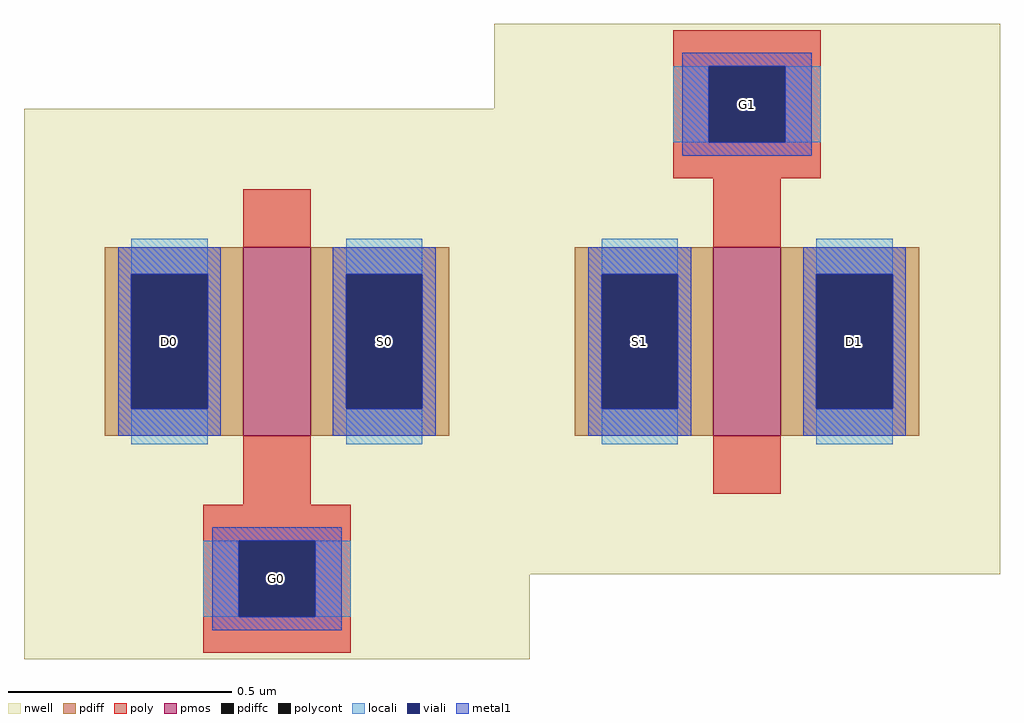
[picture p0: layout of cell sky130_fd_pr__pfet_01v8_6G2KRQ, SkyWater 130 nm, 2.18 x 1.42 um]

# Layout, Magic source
magic
tech sky130A
magscale 1 2
<< nwell >>
rect -8 104 218 142
rect -218 -104 218 104
rect -218 -142 8 -104
<< pmos >>
rect -120 -42 -90 42
rect 90 -42 120 42
<< pdiff >>
rect -182 30 -120 42
rect -182 -30 -170 30
rect -136 -30 -120 30
rect -182 -42 -120 -30
rect -90 30 -28 42
rect -90 -30 -74 30
rect -40 -30 -28 30
rect -90 -42 -28 -30
rect 28 30 90 42
rect 28 -30 40 30
rect 74 -30 90 30
rect 28 -42 90 -30
rect 120 30 182 42
rect 120 -30 136 30
rect 170 -30 182 30
rect 120 -42 182 -30
<< pdiffc >>
rect -170 -30 -136 30
rect -74 -30 -40 30
rect 40 -30 74 30
rect 136 -30 170 30
<< poly >>
rect 72 123 138 139
rect 72 89 88 123
rect 122 89 138 123
rect 72 73 138 89
rect -120 42 -90 68
rect 90 42 120 73
rect -120 -73 -90 -42
rect 90 -68 120 -42
rect -138 -89 -72 -73
rect -138 -123 -122 -89
rect -88 -123 -72 -89
rect -138 -139 -72 -123
<< polycont >>
rect 88 89 122 123
rect -122 -123 -88 -89
<< locali >>
rect 72 89 88 123
rect 122 89 138 123
rect -170 30 -136 46
rect -170 -46 -136 -30
rect -74 30 -40 46
rect -74 -46 -40 -30
rect 40 30 74 46
rect 40 -46 74 -30
rect 136 30 170 46
rect 136 -46 170 -30
rect -138 -123 -122 -89
rect -88 -123 -72 -89
<< viali >>
rect 88 89 122 123
rect -170 -30 -136 30
rect -74 -30 -40 30
rect 40 -30 74 30
rect 136 -30 170 30
rect -122 -123 -88 -89
<< metal1 >>
rect 76 123 134 129
rect 76 89 88 123
rect 122 89 134 123
rect 76 83 134 89
rect -176 30 -130 42
rect -176 -30 -170 30
rect -136 -30 -130 30
rect -176 -42 -130 -30
rect -80 30 -34 42
rect -80 -30 -74 30
rect -40 -30 -34 30
rect -80 -42 -34 -30
rect 34 30 80 42
rect 34 -30 40 30
rect 74 -30 80 30
rect 34 -42 80 -30
rect 130 30 176 42
rect 130 -30 136 30
rect 170 -30 176 30
rect 130 -42 176 -30
rect -134 -89 -76 -83
rect -134 -123 -122 -89
rect -88 -123 -76 -89
rect -134 -129 -76 -123
<< labels >>
rlabel pdiffc -153 0 -153 0 0 D0
port 1 nsew
rlabel pdiffc -57 0 -57 0 0 S0
port 2 nsew
rlabel polycont -105 -106 -105 -106 0 G0
port 3 nsew
rlabel pdiffc 153 0 153 0 0 D1
port 4 nsew
rlabel pdiffc 57 0 57 0 0 S1
port 5 nsew
rlabel polycont 105 106 105 106 0 G1
port 6 nsew
<< properties >>
string gencell sky130_fd_pr__pfet_01v8
string library sky130
string parameters w 0.42 l 0.15 m 1 nf 2 diffcov 100 polycov 100 guard 0 glc 1 grc 1 gtc 1 gbc 1 tbcov 100 rlcov 100 topc 1 botc 1 poverlap 0 doverlap 0 lmin 0.15 wmin 0.42 class mosfet compatible {sky130_fd_pr__pfet_01v8  sky130_fd_pr__pfet_01v8_lvt sky130_fd_pr__pfet_01v8_hvt  sky130_fd_pr__pfet_g5v0d10v5} full_metal 1 conn_gates 0 viasrc 100 viadrn 100 viagate 100 viagb 0 viagr 0 viagl 0 viagt 0 doports 1
<< end >>
